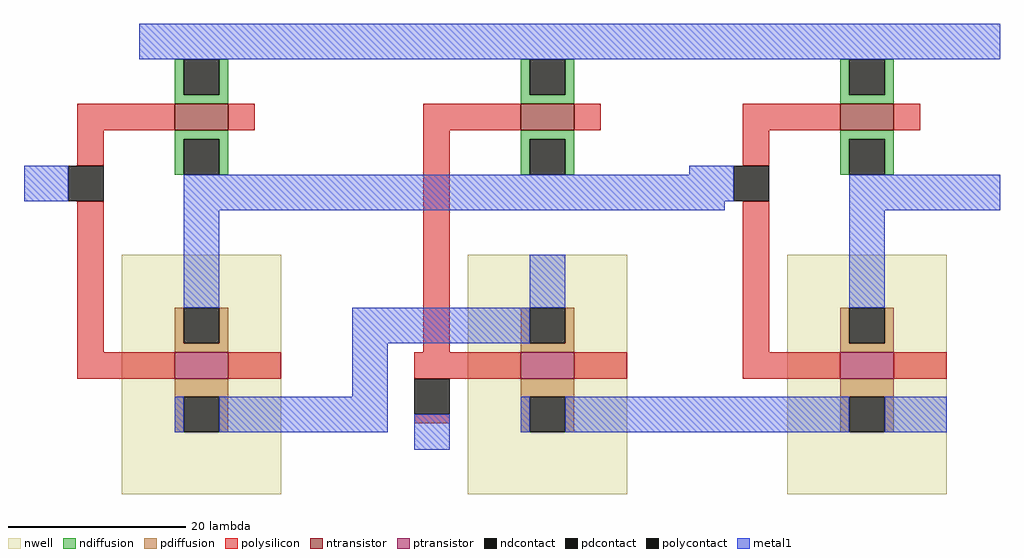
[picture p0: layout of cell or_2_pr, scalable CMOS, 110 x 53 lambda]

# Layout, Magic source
magic
tech scmos
<< nwell >>
rect -29 -28 -11 -1
rect 10 -28 28 -1
rect 46 -28 64 -1
<< ntransistor >>
rect -23 13 -17 16
rect 16 13 22 16
rect 52 13 58 16
<< ptransistor >>
rect -23 -15 -17 -12
rect 16 -15 22 -12
rect 52 -15 58 -12
<< ndiffusion >>
rect -23 17 -22 21
rect -18 17 -17 21
rect -23 16 -17 17
rect 16 17 17 21
rect 21 17 22 21
rect 16 16 22 17
rect 52 17 53 21
rect 57 17 58 21
rect 52 16 58 17
rect -23 12 -17 13
rect -23 8 -22 12
rect -18 8 -17 12
rect 16 12 22 13
rect 16 8 17 12
rect 21 8 22 12
rect 52 12 58 13
rect 52 8 53 12
rect 57 8 58 12
<< pdiffusion >>
rect -23 -11 -22 -7
rect -18 -11 -17 -7
rect -23 -12 -17 -11
rect 16 -11 17 -7
rect 21 -11 22 -7
rect 16 -12 22 -11
rect 52 -11 53 -7
rect 57 -11 58 -7
rect 52 -12 58 -11
rect -23 -17 -17 -15
rect -23 -21 -22 -17
rect -18 -21 -17 -17
rect 16 -17 22 -15
rect 16 -21 17 -17
rect 21 -21 22 -17
rect 52 -17 58 -15
rect 52 -21 53 -17
rect 57 -21 58 -17
<< ndcontact >>
rect -22 17 -18 21
rect 17 17 21 21
rect 53 17 57 21
rect -22 8 -18 12
rect 17 8 21 12
rect 53 8 57 12
<< pdcontact >>
rect -22 -11 -18 -7
rect 17 -11 21 -7
rect 53 -11 57 -7
rect -22 -21 -18 -17
rect 17 -21 21 -17
rect 53 -21 57 -17
<< polysilicon >>
rect -34 13 -23 16
rect -17 13 -14 16
rect 5 13 16 16
rect 22 13 25 16
rect 41 13 52 16
rect 58 13 61 16
rect -34 9 -31 13
rect -34 -12 -31 5
rect 5 -12 8 13
rect 41 9 44 13
rect 41 -12 44 5
rect -34 -15 -23 -12
rect -17 -15 -11 -12
rect 4 -15 16 -12
rect 22 -15 28 -12
rect 41 -15 52 -12
rect 58 -15 64 -12
rect 4 -20 8 -19
<< polycontact >>
rect -35 5 -31 9
rect 40 5 44 9
rect 4 -19 8 -15
<< metal1 >>
rect -27 21 70 25
rect -40 5 -35 9
rect 35 8 40 9
rect -22 5 40 8
rect -22 4 39 5
rect 53 4 70 8
rect -22 -7 -18 4
rect 17 -7 21 -1
rect -3 -11 17 -7
rect 53 -7 57 4
rect -3 -17 1 -11
rect -23 -21 -22 -17
rect -18 -21 1 -17
rect 4 -23 8 -19
rect 16 -21 17 -17
rect 21 -21 53 -17
rect 57 -21 64 -17
<< end >>
